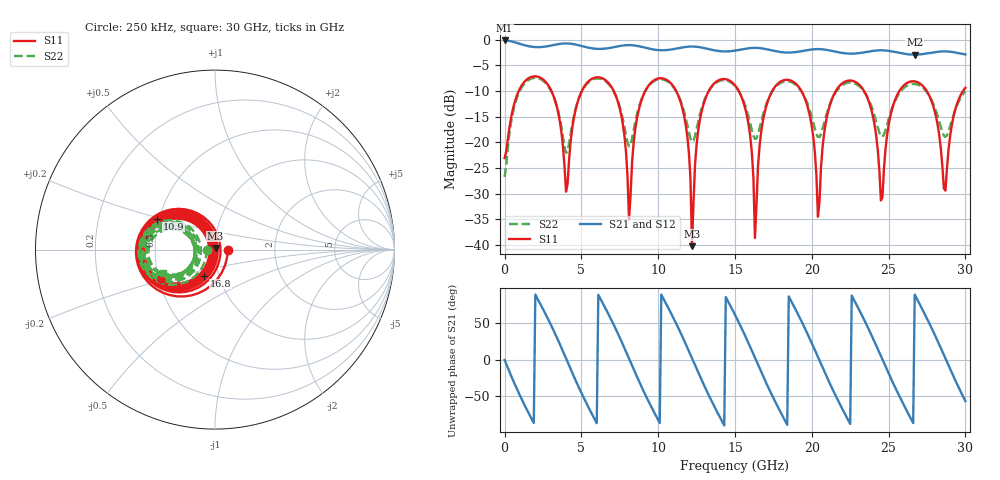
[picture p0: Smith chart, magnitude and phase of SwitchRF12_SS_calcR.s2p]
! Port 1 = P1 P2
! Port 2 = P2 P2
# hz S ri R 50
! freq  reS11  imS11  reS21  imS21  reS12  imS12  reS22  imS22
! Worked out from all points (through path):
!   301 points, 250 kHz to 30 GHz, reference 50 ohm
!   highest |S21| = -0.12 dB at 250 kHz (marker M1); lowest = -2.9 dB at 26.7 GHz (marker M2)
!   lowest |S11| = -40.2 dB at 12.2 GHz (marker M3), VSWR 1.02, Z = 50.3 + j0.931 ohm
!   |S11| at or under -10 dB: 15.25 GHz to 17.42 GHz (2.175 GHz wide, 13.3 % of centre); 19.32 GHz to 21.56 GHz (2.234 GHz wide, 10.9 % of centre); 27.49 GHz to 29.84 GHz (2.353 GHz wide, 8.21 % of centre)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
!   |S22| runs from -26.7 to -7.4 dB; largest |S21 - S12| = 0
!   S11 on the Smith chart (normalised r, x): 250 kHz: 1.15, -0.00; 10.9 GHz: 0.49, +0.19; 16.8 GHz: 0.85, -0.25; 30 GHz: 0.52, -0.19
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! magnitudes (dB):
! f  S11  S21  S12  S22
! 250 kHz  -23.0  -0.1  -0.1  -26.7
! 2.4 GHz  -7.5  -1.4  -1.4  -7.8
! 4 GHz  -29.6  -0.7  -0.7  -22.0
! 5.1 GHz  -9.5  -1.3  -1.3  -9.7
! 7.3 GHz  -11.4  -1.3  -1.3  -11.3
! 8.1 GHz  -35.0  -1.0  -1.0  -20.8
! 10.1 GHz  -7.5  -2.0  -2.0  -7.7
! 10.9 GHz  -8.7  -1.9  -1.9  -8.9
! 12.2 GHz  -40.2  -1.3  -1.3  -19.9
! 12.9 GHz  -13.1  -1.6  -1.6  -12.7
! 15.1 GHz  -9.3  -2.1  -2.1  -9.4
! 16.3 GHz  -38.6  -1.6  -1.6  -19.3
! 16.8 GHz  -16.1  -1.7  -1.7  -14.9
! 20.1 GHz  -19.0  -1.8  -1.8  -16.2
! 20.4 GHz  -34.5  -1.8  -1.8  -18.9
! 21.2 GHz  -12.5  -2.1  -2.1  -12.4
! 23.1 GHz  -8.8  -2.6  -2.6  -9.1
! 24.5 GHz  -31.3  -2.0  -2.0  -18.8
! 25.1 GHz  -15.1  -2.2  -2.2  -14.5
! 26.7 GHz  -8.1  -2.9  -2.9  -8.6
! 28.7 GHz  -29.4  -2.3  -2.3  -18.9
! 30 GHz  -9.3  -2.8  -2.8  -10.0
